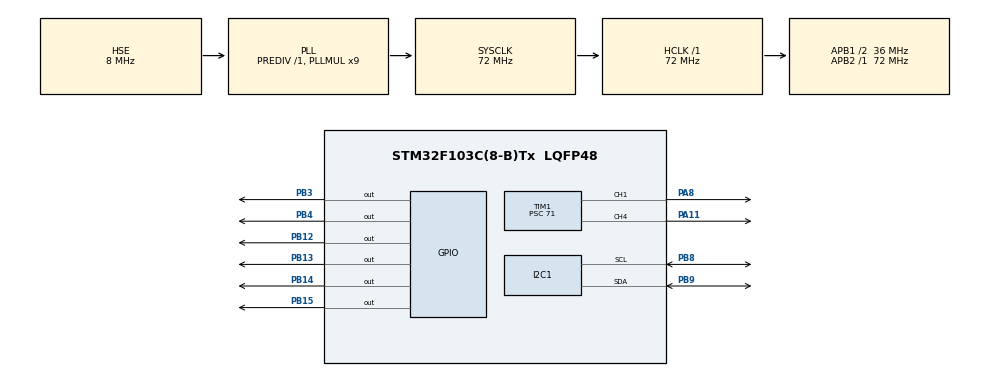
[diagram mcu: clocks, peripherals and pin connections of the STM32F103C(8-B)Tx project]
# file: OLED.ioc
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Mcu.Family=STM32F1
Mcu.Name=STM32F103C(8-B)Tx
Mcu.Package=LQFP48
NVIC.PriorityGroup=NVIC_PRIORITYGROUP_4
PA11.Signal=S_TIM1_CH4
PA13.Mode=Serial_Wire
PA13.Signal=SYS_JTMS-SWDIO
PA14.Mode=Serial_Wire
PA14.Signal=SYS_JTCK-SWCLK
PA8.Signal=S_TIM1_CH1
PB12.Signal=GPIO_Output
PB13.Signal=GPIO_Output
PB14.Signal=GPIO_Output
PB15.Signal=GPIO_Output
PB3.Signal=GPIO_Output
PB4.Signal=GPIO_Output
PB8.Mode=I2C
PB8.Signal=I2C1_SCL
PB9.Mode=I2C
PB9.Signal=I2C1_SDA
PC14-OSC32_IN.Mode=LSE-External-Oscillator
PC14-OSC32_IN.Signal=RCC_OSC32_IN
PC15-OSC32_OUT.Mode=LSE-External-Oscillator
PC15-OSC32_OUT.Signal=RCC_OSC32_OUT
PD0-OSC_IN.Mode=HSE-External-Oscillator
PD0-OSC_IN.Signal=RCC_OSC_IN
PD1-OSC_OUT.Mode=HSE-External-Oscillator
PD1-OSC_OUT.Signal=RCC_OSC_OUT
ProjectManager.HeapSize=0x200
ProjectManager.StackSize=0x400
ProjectManager.TargetToolchain=MDK-ARM V5.32
RCC.AHBFreq_Value=72000000
RCC.APB1CLKDivider=RCC_HCLK_DIV2
RCC.APB1Freq_Value=36000000
RCC.APB1TimFreq_Value=72000000
RCC.APB2Freq_Value=72000000
RCC.APB2TimFreq_Value=72000000
RCC.HCLKFreq_Value=72000000
RCC.PLLMUL=RCC_PLL_MUL9
RCC.PLLSourceVirtual=RCC_PLLSOURCE_HSE
RCC.SYSCLKFreq_VALUE=72000000
RCC.SYSCLKSource=RCC_SYSCLKSOURCE_PLLCLK
RCC.USBFreq_Value=72000000
SH.S_TIM1_CH1.0=TIM1_CH1,PWM Generation1 CH1
SH.S_TIM1_CH4.0=TIM1_CH4,PWM Generation4 CH4
TIM1.Channel-PWM\ Generation1\ CH1=TIM_CHANNEL_1
TIM1.Channel-PWM\ Generation4\ CH4=TIM_CHANNEL_4
TIM1.Period=99
TIM1.Prescaler=71
TIM1.Pulse-PWM\ Generation1\ CH1=99
TIM1.Pulse-PWM\ Generation4\ CH4=99
board=custom

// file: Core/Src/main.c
/* USER CODE BEGIN Header */
/**
  ******************************************************************************
  * @file           : main.c
  * @brief          : Main program body
  ******************************************************************************
  * @attention
  *
  * <h2><center>&copy; Copyright (c) 2025 STMicroelectronics.
  * All rights reserved.</center></h2>
  *
  * This software component is licensed by ST under BSD 3-Clause license,
  * the "License"; You may not use this file except in compliance with the
  * License. You may obtain a copy of the License at:
  *                        opensource.org/licenses/BSD-3-Clause
  *
  ******************************************************************************
  */
/* USER CODE END Header */
#include "main.h"
#include "i2c.h"
#include "tim.h"
#include "gpio.h"

/* USER CODE BEGIN Includes */
#include "oled.h"
#include "IIC.h"
#include "inv_mpu.h"
#include "inv_mpu_dmp_motion_driver.h"
#include "mpu6050.h"
#include "stdio.h"
#include "motor.h"
/* USER CODE END Includes */

void SystemClock_Config(void);

int main(void)
{

  /* MCU Configuration--------------------------------------------------------*/

  /* Reset of all peripherals, Initializes the Flash interface and the Systick. */
  HAL_Init();

  /* Configure the system clock */
  SystemClock_Config();

  /* USER CODE BEGIN SysInit */
	float pitch,roll,yaw;
	uint8_t display_buf[20];
  /* USER CODE END SysInit */

  /* Initialize all configured peripherals */
  MX_GPIO_Init();
  MX_I2C1_Init();
  MX_TIM1_Init();
  /* USER CODE BEGIN 2 */

  OLED_Init();
  OLED_Clear();
  MPU_Init();
  mpu_dmp_init();

  OLED_ShowString(0,00,"Init Sucess!",16);
	HAL_TIM_PWM_Start(&htim1,TIM_CHANNEL_1);
	HAL_TIM_PWM_Start(&htim1,TIM_CHANNEL_4);
	Load(-10,-10);
  /* USER CODE END 2 */

  /* Infinite loop */
  /* USER CODE BEGIN WHILE */
  while (1)
  {
	  HAL_Delay(10);
	  mpu_dmp_get_data(&pitch,&roll,&yaw);
	  sprintf((char *)display_buf,"pitch:%.2f  ",pitch);
	  OLED_ShowString(0,2,display_buf,16);
	  sprintf((char *)display_buf,"roll:%.2f  ",roll);
	  OLED_ShowString(0,4,display_buf,16);
	  sprintf((char *)display_buf,"yaw:%.2f  ",yaw);
	  OLED_ShowString(0,6,display_buf,16);
    /* USER CODE END WHILE */

  }
}

void SystemClock_Config(void)
{
  RCC_OscInitTypeDef RCC_OscInitStruct = {0};
  RCC_ClkInitTypeDef RCC_ClkInitStruct = {0};

  /** Initializes the RCC Oscillators according to the specified parameters
  * in the RCC_OscInitTypeDef structure.
  */
  RCC_OscInitStruct.OscillatorType = RCC_OSCILLATORTYPE_HSE;
  RCC_OscInitStruct.HSEState = RCC_HSE_ON;
  RCC_OscInitStruct.HSEPredivValue = RCC_HSE_PREDIV_DIV1;
  RCC_OscInitStruct.HSIState = RCC_HSI_ON;
  RCC_OscInitStruct.PLL.PLLState = RCC_PLL_ON;
  RCC_OscInitStruct.PLL.PLLSource = RCC_PLLSOURCE_HSE;
  RCC_OscInitStruct.PLL.PLLMUL = RCC_PLL_MUL9;
  if (HAL_RCC_OscConfig(&RCC_OscInitStruct) != HAL_OK)
  {
    Error_Handler();
  }
  /** Initializes the CPU, AHB and APB buses clocks
  */
  RCC_ClkInitStruct.ClockType = RCC_CLOCKTYPE_HCLK|RCC_CLOCKTYPE_SYSCLK
                              |RCC_CLOCKTYPE_PCLK1|RCC_CLOCKTYPE_PCLK2;
  RCC_ClkInitStruct.SYSCLKSource = RCC_SYSCLKSOURCE_PLLCLK;
  RCC_ClkInitStruct.AHBCLKDivider = RCC_SYSCLK_DIV1;
  RCC_ClkInitStruct.APB1CLKDivider = RCC_HCLK_DIV2;
  RCC_ClkInitStruct.APB2CLKDivider = RCC_HCLK_DIV1;

  if (HAL_RCC_ClockConfig(&RCC_ClkInitStruct, FLASH_LATENCY_2) != HAL_OK)
  {
    Error_Handler();
  }
}

void Error_Handler(void)
{
  __disable_irq();
  while (1)
  {
  }
}

/************************ (C) COPYRIGHT STMicroelectronics *****END OF FILE****/
